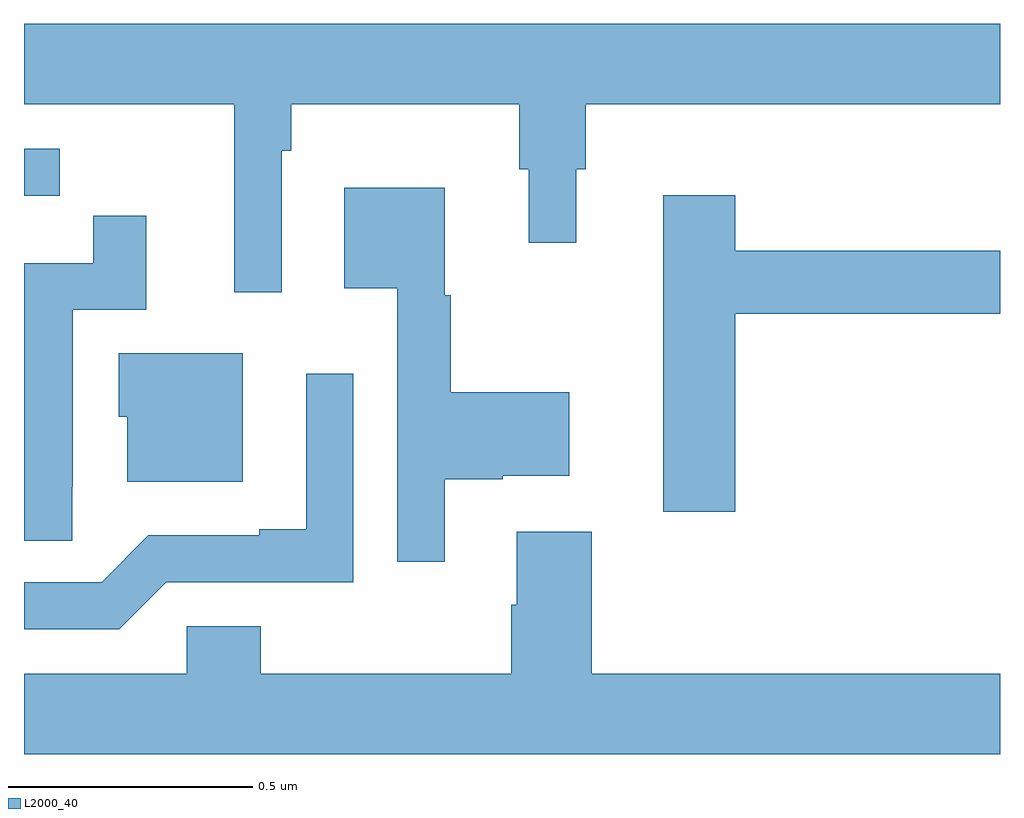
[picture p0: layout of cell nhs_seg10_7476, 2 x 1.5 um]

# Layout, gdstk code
import gdstk
lib = gdstk.Library(unit=1e-6, precision=1e-09)
def R(c, l, rs):  # rectangles x0, y0, x1, y1
    for r in rs: c.add(gdstk.rectangle(r[:2], r[2:], *l))
def P(c, l, *ps):  # polygons
    for p in ps: c.add(gdstk.Polygon(p, *l))
L2000_40 = (2000, 40)

nhs_seg10_7476 = lib.new_cell('nhs_seg10_7476')
R(nhs_seg10_7476, L2000_40, [(204,1312.116,204.073,1312.212)])
P(nhs_seg10_7476, L2000_40, [(204.528,1312.208),(204.548,1312.208),(204.548,1312.304),(205.015,1312.304),(205.015,1312.17),(205.034,1312.17),(205.034,1312.02),(205.132,1312.02),(205.132,1312.17),(205.151,1312.17),(205.151,1312.304),(206,1312.304),(206,1312.468),(204,1312.468),(204,1312.304),(204.431,1312.304),(204.431,1311.918),(204.528,1311.918)],
  [(204.862,1311.535),(204.981,1311.535),(204.981,1311.542),(205.117,1311.542),(205.117,1311.713),(204.874,1311.713),(204.874,1311.912),(204.862,1311.912),(204.862,1312.132),(204.656,1312.132),(204.656,1311.926),(204.765,1311.926),(204.765,1311.366),(204.862,1311.366)],
  [(205.457,1311.874),(206,1311.874),(206,1312.003),(205.457,1312.003),(205.457,1312.117),(205.31,1312.117),(205.31,1311.468),(205.457,1311.468)],
  [(204.099,1311.52),(204.1,1311.52),(204.1,1311.882),(204.251,1311.882),(204.251,1312.075),(204.142,1312.075),(204.142,1311.978),(204,1311.978),(204,1311.409),(204.099,1311.409)],
  [(204.448,1311.793),(204.194,1311.793),(204.194,1311.663),(204.212,1311.663),(204.212,1311.53),(204.448,1311.53)],
  [(204.291,1311.324),(204.675,1311.324),(204.675,1311.751),(204.578,1311.751),(204.578,1311.433),(204.482,1311.433),(204.482,1311.42),(204.255,1311.42),(204.159,1311.324),(204,1311.324),(204,1311.228),(204.195,1311.228)],
  [(206,1311.136),(205.163,1311.136),(205.163,1311.427),(205.01,1311.427),(205.01,1311.278),(204.998,1311.278),(204.998,1311.136),(204.485,1311.136),(204.485,1311.234),(204.333,1311.234),(204.333,1311.136),(204,1311.136),(204,1310.972),(206,1310.972)])

lib.write_gds('nhs_seg10_7476.gds')
